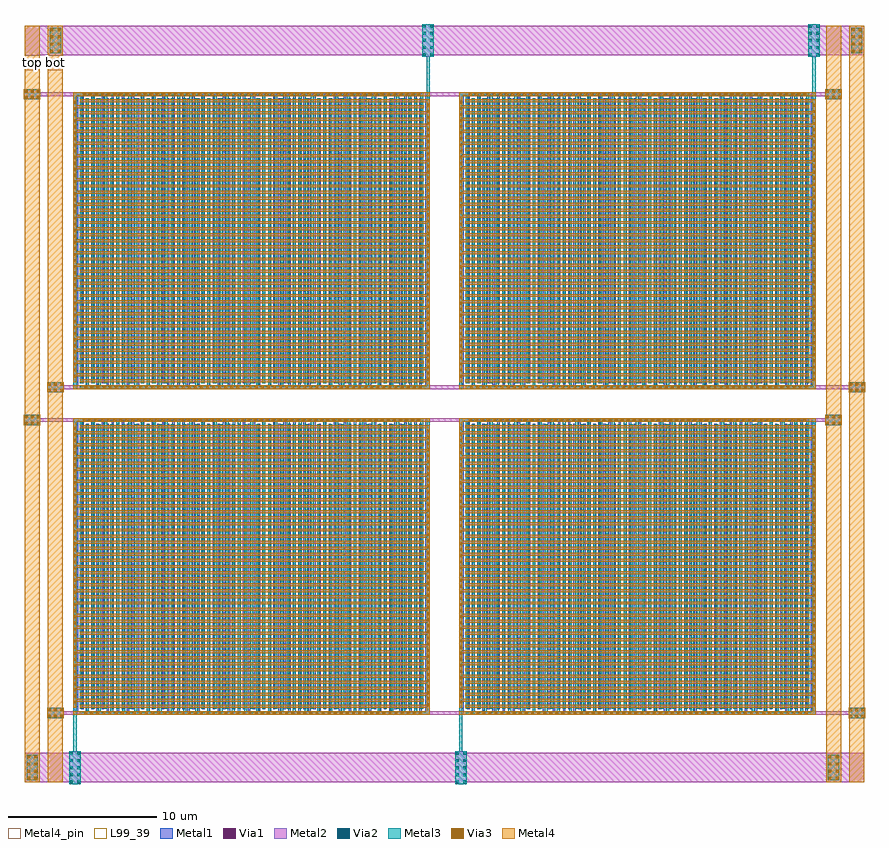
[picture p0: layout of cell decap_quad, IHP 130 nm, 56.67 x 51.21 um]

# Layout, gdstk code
import gdstk
lib = gdstk.Library(unit=1e-6, precision=1e-09)
def R(c, l, rs):  # rectangles x0, y0, x1, y1
    for r in rs: c.add(gdstk.rectangle(r[:2], r[2:], *l))
def A(c, l, x, y, w, h, nx, ny, dx, dy):  # array of equal rectangles
    R(c, l, [(x+i*dx, y+j*dy, x+i*dx+w, y+j*dy+h) for i in range(nx) for j in range(ny)])
Metal1 = (8, 0)
Metal2 = (10, 0)
Via1 = (19, 0)
Via2 = (29, 0)
Metal3 = (30, 0)
Via3 = (49, 0)
Metal4 = (50, 0)
Metal4_pin = (50, 2)
L99_39 = (99, 39)

via_stack = lib.new_cell('via_stack')
R(via_stack, Metal2, [(-0.385,-1.105,0.385,1.105)])
A(via_stack, Via2, -0.335, -1.055, 0.19, 0.19, 1, 5, 0, 0.48)
A(via_stack, Via2, 0.145, -1.055, 0.19, 0.19, 1, 5, 0, 0.48)
R(via_stack, Metal3, [(-0.385,-1.105,0.385,1.105)])

via_stack_9 = lib.new_cell('via_stack$9')
R(via_stack_9, Metal2, [(-0.385,-0.865,0.385,0.865)])
A(via_stack_9, Via2, -0.335, -0.815, 0.19, 0.19, 1, 4, 0, 0.48)
A(via_stack_9, Via2, 0.145, -0.815, 0.19, 0.19, 1, 4, 0, 0.48)
R(via_stack_9, Metal3, [(-0.385,-0.865,0.385,0.865)])
A(via_stack_9, Via3, -0.335, -0.815, 0.19, 0.19, 1, 4, 0, 0.48)
A(via_stack_9, Via3, 0.145, -0.815, 0.19, 0.19, 1, 4, 0, 0.48)
R(via_stack_9, Metal4, [(-0.385,-0.865,0.385,0.865)])

via_stack_4 = lib.new_cell('via_stack$4')
R(via_stack_4, Metal2, [(-0.555,-0.35,0.555,0.35)])
A(via_stack_4, Via2, -0.505, -0.3, 0.19, 0.19, 3, 2, 0.41, 0.41)
R(via_stack_4, Metal3, [(-0.555,-0.35,0.555,0.35)])
A(via_stack_4, Via3, -0.505, -0.3, 0.19, 0.19, 3, 2, 0.41, 0.41)
R(via_stack_4, Metal4, [(-0.555,-0.35,0.555,0.35)])

cap_mfringe = lib.new_cell('cap_mfringe')
A(cap_mfringe, Metal1, 0.53, 0, 0.16, 19.61, 34, 1, 0.68, 0)
A(cap_mfringe, Metal1, 0.87, 0.39, 0.16, 19.61, 34, 1, 0.68, 0)
R(cap_mfringe, Metal1, [(0,0,0.31,20), (0,0,23.47,0.21), (23.69,0,24,20), (0.53,19.79,24,20)])
A(cap_mfringe, Metal2, 0.42, 0.47, 23.58, 0.2, 1, 24, 0, 0.82)
A(cap_mfringe, Metal2, 0, 0.88, 23.58, 0.2, 1, 23, 0, 0.82)
R(cap_mfringe, Metal2, [(0,0,24,0.26), (0,0,0.205,19.53), (23.795,0.47,24,20), (0,19.74,24,20)])
A(cap_mfringe, Via1, 0.835, 0.01, 0.19, 0.19, 55, 1, 0.41, 0)
A(cap_mfringe, Via1, 0.01, 0.58, 0.19, 0.19, 1, 46, 0, 0.41)
A(cap_mfringe, Via1, 23.8, 0.78, 0.19, 0.19, 1, 46, 0, 0.41)
A(cap_mfringe, Via1, 0.73, 19.8, 0.19, 0.19, 56, 1, 0.41, 0)
A(cap_mfringe, Via2, 0.63, 0.005, 0.19, 0.19, 56, 1, 0.41, 0)
A(cap_mfringe, Via2, 0.005, 0.58, 0.19, 0.19, 1, 46, 0, 0.41)
A(cap_mfringe, Via2, 23.805, 0.78, 0.19, 0.19, 1, 46, 0, 0.41)
A(cap_mfringe, Via2, 0.73, 19.805, 0.19, 0.19, 56, 1, 0.41, 0)
A(cap_mfringe, Metal3, 0.42, 0, 0.2, 19.59, 29, 1, 0.82, 0)
A(cap_mfringe, Metal3, 0.83, 0.41, 0.2, 19.59, 28, 1, 0.82, 0)
R(cap_mfringe, Metal3, [(0,0,0.21,20), (0,0,23.58,0.2), (23.79,0,24,20), (0.42,19.8,24,20)])
A(cap_mfringe, Via3, 0.63, 0.005, 0.19, 0.19, 56, 1, 0.41, 0)
A(cap_mfringe, Via3, 0.005, 0.58, 0.19, 0.19, 1, 46, 0, 0.41)
A(cap_mfringe, Via3, 23.805, 0.78, 0.19, 0.19, 1, 46, 0, 0.41)
A(cap_mfringe, Via3, 0.73, 19.805, 0.19, 0.19, 56, 1, 0.41, 0)
A(cap_mfringe, Metal4, 0.41, 0.47, 23.59, 0.2, 1, 24, 0, 0.82)
A(cap_mfringe, Metal4, 0, 0.88, 23.59, 0.2, 1, 23, 0, 0.82)
R(cap_mfringe, Metal4, [(0,0,24,0.26), (0,0,0.2,19.53), (23.8,0.47,24,20), (0,19.74,24,20)])
R(cap_mfringe, Metal4_pin, [(0,9.9,0.2,10.1), (11.9,19.8,12.1,20)])
R(cap_mfringe, L99_39, [(0,0,24,20)])
cap_mfringe.add(gdstk.Label('cap_mfringe C=1113.600fF', (0,-0.5), layer=63, texttype=0))

decap_quad = lib.new_cell('decap_quad')
R(decap_quad, Metal4_pin, [(0,48,1,49), (1.56,48,2.56,49)])
decap_quad.add(gdstk.FlexPath([(0,50),(56.56,50)], 2, ends="flush", simple_path=True, layer=10, datatype=0))  # Metal2
decap_quad.add(gdstk.FlexPath([(0,1),(56.56,1)], 2, ends="flush", simple_path=True, layer=10, datatype=0))  # Metal2
decap_quad.add(gdstk.FlexPath([(56.56,26.63),(1.56,26.63)], 0.26, ends="flush", simple_path=True, layer=10, datatype=0))  # Metal2
decap_quad.add(gdstk.FlexPath([(55,46.37),(0,46.37)], 0.26, ends="flush", simple_path=True, layer=10, datatype=0))  # Metal2
decap_quad.add(gdstk.FlexPath([(56.56,4.68),(1.56,4.68)], 0.26, ends="flush", simple_path=True, layer=10, datatype=0))  # Metal2
decap_quad.add(gdstk.FlexPath([(55,24.42),(0,24.42)], 0.26, ends="flush", simple_path=True, layer=10, datatype=0))  # Metal2
decap_quad.add(gdstk.FlexPath([(53.175,46.3),(53.175,51.105)], 0.21, ends="flush", simple_path=True, layer=30, datatype=0))  # Metal3
decap_quad.add(gdstk.FlexPath([(27.175,46.3),(27.175,51.105)], 0.21, ends="flush", simple_path=True, layer=30, datatype=0))  # Metal3
decap_quad.add(gdstk.FlexPath([(3.385,-0.105),(3.385,4.7)], 0.21, ends="flush", simple_path=True, layer=30, datatype=0))  # Metal3
decap_quad.add(gdstk.FlexPath([(29.385,-0.105),(29.385,4.7)], 0.21, ends="flush", simple_path=True, layer=30, datatype=0))  # Metal3
decap_quad.add(gdstk.FlexPath([(56.06,51),(56.06,0)], 1, ends="flush", simple_path=True, layer=50, datatype=0))  # Metal4
decap_quad.add(gdstk.FlexPath([(54.5,51),(54.5,0)], 1, ends="flush", simple_path=True, layer=50, datatype=0))  # Metal4
decap_quad.add(gdstk.FlexPath([(2.06,51),(2.06,0)], 1, ends="flush", simple_path=True, layer=50, datatype=0))  # Metal4
decap_quad.add(gdstk.FlexPath([(0.5,51),(0.5,0)], 1, ends="flush", simple_path=True, layer=50, datatype=0))  # Metal4
decap_quad.add(gdstk.Reference(via_stack, (27.175,50)))
decap_quad.add(gdstk.Reference(via_stack_9, (2.06,50)))
decap_quad.add(gdstk.Reference(via_stack, (29.385,1)))
decap_quad.add(gdstk.Reference(via_stack_9, (0.5,1)))
decap_quad.add(gdstk.Reference(via_stack, (53.175,50)))
decap_quad.add(gdstk.Reference(via_stack, (3.385,1)))
decap_quad.add(gdstk.Reference(via_stack_9, (54.5,1)))
decap_quad.add(gdstk.Reference(via_stack_9, (56.06,50)))
decap_quad.add(gdstk.Reference(via_stack_4, (54.5,46.37)))
decap_quad.add(gdstk.Reference(cap_mfringe, (3.28,46.5), x_reflection=True))
decap_quad.add(gdstk.Reference(via_stack_4, (0.5,46.37)))
decap_quad.add(gdstk.Reference(via_stack_4, (56.06,26.63)))
decap_quad.add(gdstk.Reference(via_stack_4, (2.06,26.63)))
decap_quad.add(gdstk.Reference(cap_mfringe, (29.28,46.5), x_reflection=True))
decap_quad.add(gdstk.Reference(via_stack_4, (54.5,24.42)))
decap_quad.add(gdstk.Reference(cap_mfringe, (3.28,24.55), x_reflection=True))
decap_quad.add(gdstk.Reference(via_stack_4, (0.5,24.42)))
decap_quad.add(gdstk.Reference(via_stack_4, (56.06,4.68)))
decap_quad.add(gdstk.Reference(via_stack_4, (2.06,4.68)))
decap_quad.add(gdstk.Reference(cap_mfringe, (29.28,24.55), x_reflection=True))
decap_quad.add(gdstk.Label('top', (0.5,48.5), layer=50, texttype=25))
decap_quad.add(gdstk.Label('bot', (2.06,48.5), layer=50, texttype=25))

lib.write_gds('decap_quad.gds')
